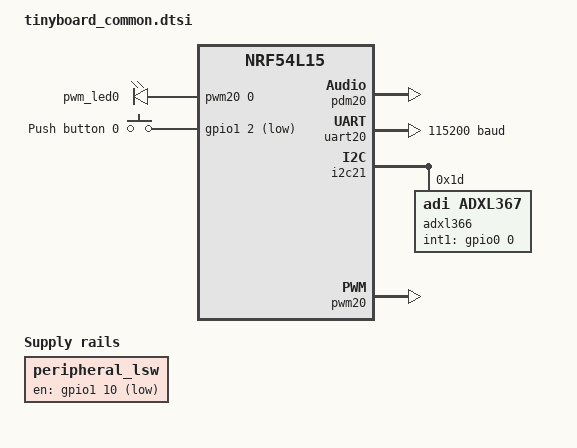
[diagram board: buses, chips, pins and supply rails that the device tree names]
/*
 * Copyright (c) 2024 Nordic Semiconductor ASA
 *
 * SPDX-License-Identifier: Apache-2.0
 */

#include "tinyboard_nrf54l15-pinctrl.dtsi"

/ {
	pwmleds {
		compatible = "pwm-leds";
		pwm_led0: pwm_led_0 {
			pwms = <&pwm20 0 PWM_MSEC(20) PWM_POLARITY_NORMAL>;
		};
	};

	buttons {
		compatible = "gpio-keys";
		button0: button_0 {
			gpios = <&gpio1 2 (GPIO_PULL_UP | GPIO_ACTIVE_LOW)>;
			label = "Push button 0";
			zephyr,code = <INPUT_KEY_0>;
		};
	};

	aliases {
		pwm-led0 = &pwm_led0;
		sw0 = &button0;
		watchdog0 = &wdt31;
	};

	peripheral_lsw: peripheral-load-switch {
		compatible = "regulator-fixed";
		regulator-name = "Peripheral LSW";
		enable-gpios = <&gpio1 10 GPIO_ACTIVE_LOW>;
		regulator-boot-on;
	};
};


dmic_dev: &pdm20 {
	status = "okay";
	pinctrl-0 = <&pdm20_default>;
	pinctrl-1 = <&pdm20_sleep>;
	pinctrl-names = "default", "sleep";
	clock-source = "PCLK32M_HFXO";
};

&uart20 {
	current-speed = <115200>;
	pinctrl-0 = <&uart20_default>;
	pinctrl-1 = <&uart20_sleep>;
	pinctrl-names = "default", "sleep";
};

&i2c21 {
	compatible = "nordic,nrf-twim";
	status = "okay";
	pinctrl-0 = <&i2c21_default>;
	pinctrl-1 = <&i2c21_sleep>;
	pinctrl-names = "default", "sleep";

	adxl366: adxl366@1d {
		compatible = "adi,adxl367";
		reg = <0x1d>;
		odr = <5>;
		int1-gpios = <&gpio0 0 GPIO_ACTIVE_HIGH>;
	};
};

&pwm20 {
	status = "okay";
	pinctrl-0 = <&pwm20_default>;
	pinctrl-1 = <&pwm20_sleep>;
	pinctrl-names = "default", "sleep";
};
